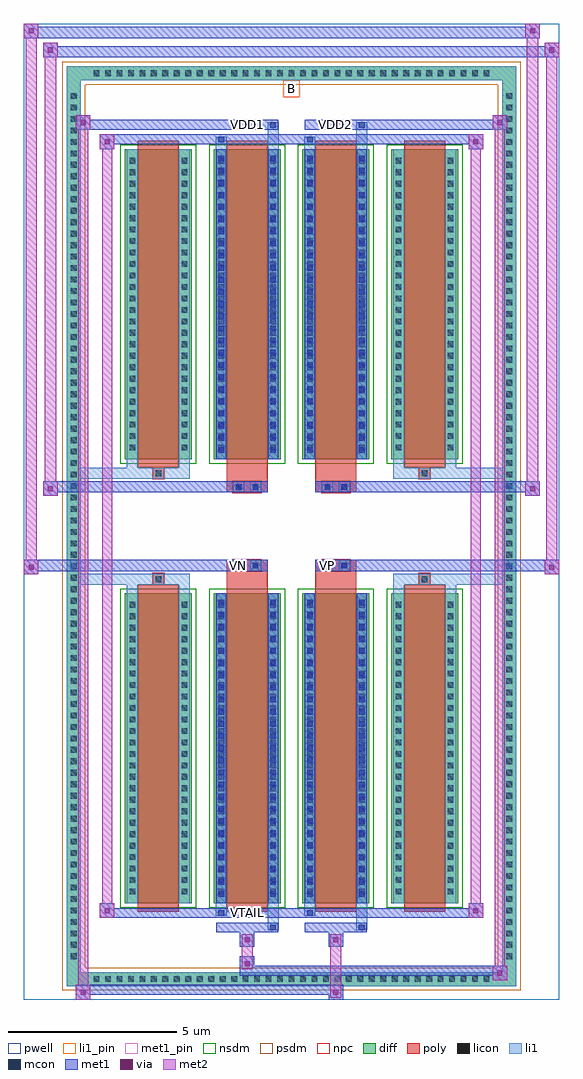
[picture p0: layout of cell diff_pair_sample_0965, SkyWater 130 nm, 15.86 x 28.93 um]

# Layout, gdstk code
import gdstk
lib = gdstk.Library(unit=1e-6, precision=5e-09)
def R(c, l, rs):  # rectangles x0, y0, x1, y1
    for r in rs: c.add(gdstk.rectangle(r[:2], r[2:], *l))
def A(c, l, x, y, w, h, nx, ny, dx, dy):  # array of equal rectangles
    R(c, l, [(x+i*dx, y+j*dy, x+i*dx+w, y+j*dy+h) for i in range(nx) for j in range(ny)])
def P(c, l, *ps):  # polygons
    for p in ps: c.add(gdstk.Polygon(p, *l))
pwell = (64, 44)
diff = (65, 20)
poly = (66, 20)
licon = (66, 44)
li1_pin = (67, 16)
li1 = (67, 20)
mcon = (67, 44)
met1_pin = (68, 16)
met1 = (68, 20)
via = (68, 44)
met2 = (69, 20)
nsdm = (93, 44)
psdm = (94, 20)
npc = (95, 20)

diff_pair_sample_0965 = lib.new_cell('diff_pair_sample_0965')
R(diff_pair_sample_0965, pwell, [(-7.93,-14.03,7.93,14.9), (-5.25,-12.22,-0.01,-0.8), (0.01,-12.22,5.25,-0.8), (-5.25,0.8,-0.01,12.22), (0.01,0.8,5.25,12.22)])
A(diff_pair_sample_0965, diff, -5.985, -13.63, 0.41, 0.41, 35, 2, 0.34, 26.85)
A(diff_pair_sample_0965, diff, -6.66, -12.955, 0.41, 0.41, 1, 76, 0, 0.34)
A(diff_pair_sample_0965, diff, 6.25, -12.955, 0.41, 0.41, 1, 76, 0, 0.34)
A(diff_pair_sample_0965, diff, -4.94, -11.175, 1.99, 9.19, 4, 2, 2.63, 13.16)
R(diff_pair_sample_0965, diff, [(-5.985,-13.63,5.985,-13.22), (-6.66,-12.955,-6.25,12.955), (6.25,-12.955,6.66,12.955), (-5.985,13.22,5.985,13.63)])
P(diff_pair_sample_0965, diff, [(6.66,13.63),(-6.66,13.63),(-6.66,-13.22),(-6.25,-13.22),(-6.25,13.22),(6.25,13.22),(6.25,-13.22),(-6.25,-13.22),(-6.66,-13.22),(-6.66,-13.63),(6.66,-13.63)])
A(diff_pair_sample_0965, poly, -4.55, -11.425, 1.21, 9.69, 4, 2, 2.63, 13.16)
R(diff_pair_sample_0965, poly, [(-4.11,-1.735,-3.78,-1.405), (-4.11,-1.735,-3.78,-1.405), (-1.92,-1.735,-0.71,-1.33), (0.71,-1.735,1.92,-1.33), (3.78,-1.735,4.11,-1.405), (3.78,-1.735,4.11,-1.405), (-1.92,-1.33,-0.71,-1), (-1.73,-1.33,-1.4,-1), (-1.23,-1.33,-0.9,-1), (0.71,-1.33,1.92,-1), (0.9,-1.33,1.23,-1), (1.4,-1.33,1.73,-1), (-1.92,1,-0.71,1.33), (-1.73,1,-1.4,1.33), (-1.23,1,-0.9,1.33), (0.71,1,1.92,1.33), (0.9,1,1.23,1.33), (1.4,1,1.73,1.33), (-1.92,1.33,-0.71,1.735), (0.71,1.33,1.92,1.735), (-4.11,1.405,-3.78,1.735), (-4.11,1.405,-3.78,1.735), (3.78,1.405,4.11,1.735), (3.78,1.405,4.11,1.735)])
A(diff_pair_sample_0965, licon, -5.865, -13.51, 0.17, 0.17, 35, 2, 0.34, 26.85)
A(diff_pair_sample_0965, licon, -6.54, -12.835, 0.17, 0.17, 1, 76, 0, 0.34)
A(diff_pair_sample_0965, licon, 6.37, -12.835, 0.17, 0.17, 1, 76, 0, 0.34)
A(diff_pair_sample_0965, licon, -4.8, -10.915, 0.17, 0.17, 1, 26, 0, 0.34)
A(diff_pair_sample_0965, licon, -3.26, -10.915, 0.17, 0.17, 1, 26, 0, 0.34)
A(diff_pair_sample_0965, licon, -2.17, -10.915, 0.17, 0.17, 1, 26, 0, 0.34)
A(diff_pair_sample_0965, licon, -0.63, -10.915, 0.17, 0.17, 1, 26, 0, 0.34)
A(diff_pair_sample_0965, licon, 0.46, -10.915, 0.17, 0.17, 1, 26, 0, 0.34)
A(diff_pair_sample_0965, licon, 2, -10.915, 0.17, 0.17, 1, 26, 0, 0.34)
A(diff_pair_sample_0965, licon, 3.09, -10.915, 0.17, 0.17, 1, 26, 0, 0.34)
A(diff_pair_sample_0965, licon, 4.63, -10.915, 0.17, 0.17, 1, 26, 0, 0.34)
A(diff_pair_sample_0965, licon, -4.8, 2.245, 0.17, 0.17, 1, 26, 0, 0.34)
A(diff_pair_sample_0965, licon, -3.26, 2.245, 0.17, 0.17, 1, 26, 0, 0.34)
A(diff_pair_sample_0965, licon, -2.17, 2.245, 0.17, 0.17, 1, 26, 0, 0.34)
A(diff_pair_sample_0965, licon, -0.63, 2.245, 0.17, 0.17, 1, 26, 0, 0.34)
A(diff_pair_sample_0965, licon, 0.46, 2.245, 0.17, 0.17, 1, 26, 0, 0.34)
A(diff_pair_sample_0965, licon, 2, 2.245, 0.17, 0.17, 1, 26, 0, 0.34)
A(diff_pair_sample_0965, licon, 3.09, 2.245, 0.17, 0.17, 1, 26, 0, 0.34)
A(diff_pair_sample_0965, licon, 4.63, 2.245, 0.17, 0.17, 1, 26, 0, 0.34)
R(diff_pair_sample_0965, licon, [(-4.03,-1.655,-3.86,-1.485), (3.86,-1.655,4.03,-1.485), (-1.65,-1.25,-1.48,-1.08), (-1.15,-1.25,-0.98,-1.08), (0.98,-1.25,1.15,-1.08), (1.48,-1.25,1.65,-1.08), (-1.65,1.08,-1.48,1.25), (-1.15,1.08,-0.98,1.25), (0.98,1.08,1.15,1.25), (1.48,1.08,1.65,1.25), (-4.03,1.485,-3.86,1.655), (3.86,1.485,4.03,1.655)])
R(diff_pair_sample_0965, li1_pin, [(-0.25,12.72,0.25,13.22)])
A(diff_pair_sample_0965, li1, -5.945, -13.59, 0.33, 0.33, 35, 2, 0.34, 26.85)
A(diff_pair_sample_0965, li1, -6.62, -12.915, 0.33, 0.33, 1, 76, 0, 0.34)
A(diff_pair_sample_0965, li1, 6.29, -12.915, 0.33, 0.33, 1, 76, 0, 0.34)
A(diff_pair_sample_0965, li1, -4.88, -10.995, 0.33, 0.33, 1, 26, 0, 0.34)
A(diff_pair_sample_0965, li1, -3.34, -10.995, 0.33, 0.33, 1, 26, 0, 0.34)
A(diff_pair_sample_0965, li1, -2.25, -10.995, 0.33, 0.33, 1, 26, 0, 0.34)
A(diff_pair_sample_0965, li1, -0.71, -10.995, 0.33, 0.33, 1, 26, 0, 0.34)
A(diff_pair_sample_0965, li1, 0.38, -10.995, 0.33, 0.33, 1, 26, 0, 0.34)
A(diff_pair_sample_0965, li1, 1.92, -10.995, 0.33, 0.33, 1, 26, 0, 0.34)
A(diff_pair_sample_0965, li1, 3.01, -10.995, 0.33, 0.33, 1, 26, 0, 0.34)
A(diff_pair_sample_0965, li1, 4.55, -10.995, 0.33, 0.33, 1, 26, 0, 0.34)
A(diff_pair_sample_0965, li1, -2.17, -10.985, 0.17, 0.17, 1, 25, 0, 0.36)
A(diff_pair_sample_0965, li1, -0.63, -10.985, 0.17, 0.17, 1, 25, 0, 0.36)
A(diff_pair_sample_0965, li1, 0.46, -10.985, 0.17, 0.17, 1, 25, 0, 0.36)
A(diff_pair_sample_0965, li1, 2, -10.985, 0.17, 0.17, 1, 25, 0, 0.36)
A(diff_pair_sample_0965, li1, -4.88, 2.165, 0.33, 0.33, 1, 26, 0, 0.34)
A(diff_pair_sample_0965, li1, -3.34, 2.165, 0.33, 0.33, 1, 26, 0, 0.34)
A(diff_pair_sample_0965, li1, -2.25, 2.165, 0.33, 0.33, 1, 26, 0, 0.34)
A(diff_pair_sample_0965, li1, -0.71, 2.165, 0.33, 0.33, 1, 26, 0, 0.34)
A(diff_pair_sample_0965, li1, 0.38, 2.165, 0.33, 0.33, 1, 26, 0, 0.34)
A(diff_pair_sample_0965, li1, 1.92, 2.165, 0.33, 0.33, 1, 26, 0, 0.34)
A(diff_pair_sample_0965, li1, 3.01, 2.165, 0.33, 0.33, 1, 26, 0, 0.34)
A(diff_pair_sample_0965, li1, 4.55, 2.165, 0.33, 0.33, 1, 26, 0, 0.34)
A(diff_pair_sample_0965, li1, -2.17, 2.175, 0.17, 0.17, 1, 25, 0, 0.36)
A(diff_pair_sample_0965, li1, -0.63, 2.175, 0.17, 0.17, 1, 25, 0, 0.36)
A(diff_pair_sample_0965, li1, 0.46, 2.175, 0.17, 0.17, 1, 25, 0, 0.36)
A(diff_pair_sample_0965, li1, 2, 2.175, 0.17, 0.17, 1, 25, 0, 0.36)
R(diff_pair_sample_0965, li1, [(-6.66,-13.63,-6.25,-13.22), (-6.66,-13.63,-6.25,-13.22), (-6.25,-13.63,6.25,-13.22), (6.25,-13.63,6.66,-13.22), (6.25,-13.63,6.66,-13.22), (-6.66,-13.22,-6.25,13.22), (6.25,-13.22,6.66,13.22), (-0.71,-11.98,-0.38,-11.175), (-0.63,-11.98,-0.46,-11.81), (1.92,-11.98,2.25,-11.175), (2,-11.98,2.17,-11.81), (-2.25,-11.55,-1.92,-11.175), (-2.17,-11.55,-2,-11.38), (0.38,-11.55,0.71,-11.175), (0.46,-11.55,0.63,-11.38), (-4.88,-11.175,-4.55,-1.985), (-3.34,-11.175,-3.01,-1.985), (-2.25,-11.175,-1.92,-1.985), (-0.71,-11.175,-0.38,-1.985), (0.38,-11.175,0.71,-1.985), (1.92,-11.175,2.25,-1.985), (3.01,-11.175,3.34,-1.985), (4.55,-11.175,4.88,-1.985), (-2.17,-10.985,-2,-2.175), (-0.63,-10.985,-0.46,-2.175), (0.46,-10.985,0.63,-2.175), (2,-10.985,2.17,-2.175), (-4.88,-1.985,-4.55,-1.405), (-3.34,-1.985,-3.01,-1.405), (3.01,-1.985,3.34,-1.405), (4.55,-1.985,4.88,-1.405), (-6.66,-1.735,-4.11,-1.405), (-4.88,-1.735,-4.11,-1.405), (-4.11,-1.735,-3.78,-1.405), (-3.78,-1.735,-3.01,-1.405), (3.01,-1.735,3.78,-1.405), (3.78,-1.735,4.11,-1.405), (3.78,-1.735,6.66,-1.405), (4.11,-1.735,4.88,-1.405), (-1.73,-1.33,-1.4,-1), (-1.23,-1.33,-0.9,-1), (0.9,-1.33,1.23,-1), (1.4,-1.33,1.73,-1), (-1.73,1,-1.4,1.33), (-1.23,1,-0.9,1.33), (0.9,1,1.23,1.33), (1.4,1,1.73,1.33), (-6.66,1.405,-4.11,1.735), (-4.88,1.405,-4.11,1.735), (-4.88,1.405,-4.55,1.985), (-4.11,1.405,-3.78,1.735), (-3.78,1.405,-3.01,1.735), (-3.34,1.405,-3.01,1.985), (3.01,1.405,3.78,1.735), (3.01,1.405,3.34,1.985), (3.78,1.405,4.11,1.735), (3.78,1.405,6.66,1.735), (4.11,1.405,4.88,1.735), (4.55,1.405,4.88,1.985), (-4.88,1.985,-4.55,11.175), (-3.34,1.985,-3.01,11.175), (-2.25,1.985,-1.92,11.175), (-0.71,1.985,-0.38,11.175), (0.38,1.985,0.71,11.175), (1.92,1.985,2.25,11.175), (3.01,1.985,3.34,11.175), (4.55,1.985,4.88,11.175), (-2.17,2.175,-2,10.985), (-0.63,2.175,-0.46,10.985), (0.46,2.175,0.63,10.985), (2,2.175,2.17,10.985), (-2.25,11.175,-1.92,11.55), (-0.71,11.175,-0.38,11.98), (0.38,11.175,0.71,11.55), (1.92,11.175,2.25,11.98), (-2.17,11.38,-2,11.55), (0.46,11.38,0.63,11.55), (-0.63,11.81,-0.46,11.98), (2,11.81,2.17,11.98), (-6.66,13.22,-6.25,13.63), (-6.66,13.22,-6.25,13.63), (-6.25,13.22,6.25,13.63), (6.25,13.22,6.66,13.63), (6.25,13.22,6.66,13.63)])
A(diff_pair_sample_0965, mcon, -2.17, -10.985, 0.17, 0.17, 1, 25, 0, 0.36)
A(diff_pair_sample_0965, mcon, -0.63, -10.985, 0.17, 0.17, 1, 25, 0, 0.36)
A(diff_pair_sample_0965, mcon, 0.46, -10.985, 0.17, 0.17, 1, 25, 0, 0.36)
A(diff_pair_sample_0965, mcon, 2, -10.985, 0.17, 0.17, 1, 25, 0, 0.36)
A(diff_pair_sample_0965, mcon, -2.17, 2.175, 0.17, 0.17, 1, 25, 0, 0.36)
A(diff_pair_sample_0965, mcon, -0.63, 2.175, 0.17, 0.17, 1, 25, 0, 0.36)
A(diff_pair_sample_0965, mcon, 0.46, 2.175, 0.17, 0.17, 1, 25, 0, 0.36)
A(diff_pair_sample_0965, mcon, 2, 2.175, 0.17, 0.17, 1, 25, 0, 0.36)
R(diff_pair_sample_0965, mcon, [(-0.63,-11.98,-0.46,-11.81), (2,-11.98,2.17,-11.81), (-2.17,-11.55,-2,-11.38), (0.46,-11.55,0.63,-11.38), (-1.65,-1.25,-1.48,-1.08), (-1.15,-1.25,-0.98,-1.08), (0.98,-1.25,1.15,-1.08), (1.48,-1.25,1.65,-1.08), (-1.65,1.08,-1.48,1.25), (-1.15,1.08,-0.98,1.25), (0.98,1.08,1.15,1.25), (1.48,1.08,1.65,1.25), (-2.17,11.38,-2,11.55), (0.46,11.38,0.63,11.55), (-0.63,11.81,-0.46,11.98), (2,11.81,2.17,11.98)])
R(diff_pair_sample_0965, met1_pin, [(-1.45,-11.59,-1.18,-11.32), (-1.7,-1.29,-1.43,-1.02), (0.93,-1.29,1.2,-1.02), (-1.45,11.77,-1.18,12.04), (1.18,11.77,1.45,12.04)])
A(diff_pair_sample_0965, met1, -2.23, -11.045, 0.29, 0.29, 1, 25, 0, 0.36)
A(diff_pair_sample_0965, met1, -0.69, -11.045, 0.29, 0.29, 1, 25, 0, 0.36)
A(diff_pair_sample_0965, met1, 0.4, -11.045, 0.29, 0.29, 1, 25, 0, 0.36)
A(diff_pair_sample_0965, met1, 1.94, -11.045, 0.29, 0.29, 1, 25, 0, 0.36)
A(diff_pair_sample_0965, met1, -2.23, 2.115, 0.29, 0.29, 1, 25, 0, 0.36)
A(diff_pair_sample_0965, met1, -0.69, 2.115, 0.29, 0.29, 1, 25, 0, 0.36)
A(diff_pair_sample_0965, met1, 0.4, 2.115, 0.29, 0.29, 1, 25, 0, 0.36)
A(diff_pair_sample_0965, met1, 1.94, 2.115, 0.29, 0.29, 1, 25, 0, 0.36)
R(diff_pair_sample_0965, met1, [(-6.39,-14.03,-5.96,-13.6), (1.1,-14.03,1.53,-13.6), (-6.39,-13.89,1.53,-13.6), (5.96,-13.46,6.39,-13.03), (-1.53,-13.32,6.39,-13.03), (-1.53,-13.18,-1.1,-12.75), (-1.53,-12.47,-1.1,-12.04), (1.1,-12.47,1.53,-12.04), (-2.23,-12.04,-0.4,-11.75), (-0.69,-12.04,-0.4,-11.75), (0.4,-12.04,2.23,-11.75), (1.94,-12.04,2.23,-11.75), (-5.68,-11.61,-5.25,-11.18), (-5.68,-11.61,-2.23,-11.32), (-2.23,-11.61,-1.94,-11.32), (-2.23,-11.61,-0.4,-11.32), (-0.4,-11.61,0.4,-11.32), (0.4,-11.61,0.69,-11.32), (0.4,-11.61,2.23,-11.32), (2.23,-11.61,5.68,-11.32), (5.25,-11.61,5.68,-11.18), (-2.23,-11.175,-1.94,-1.985), (-0.69,-11.175,-0.4,-1.985), (0.4,-11.175,0.69,-1.985), (1.94,-11.175,2.23,-1.985), (-7.93,-1.43,-7.5,-1), (7.5,-1.43,7.93,-1), (-7.93,-1.33,-0.71,-1), (-1.92,-1.33,-0.71,-1), (0.71,-1.33,1.92,-1), (0.71,-1.33,7.93,-1), (-1.71,-1.31,-1.42,-1.02), (-1.21,-1.31,-0.92,-1.02), (0.92,-1.31,1.21,-1.02), (1.42,-1.31,1.71,-1.02), (-7.36,0.9,-6.93,1.33), (6.93,0.9,7.36,1.33), (-7.36,1,-1.92,1.33), (-1.92,1,-0.71,1.33), (0.71,1,1.92,1.33), (1.92,1,7.36,1.33), (-1.71,1.02,-1.42,1.31), (-1.21,1.02,-0.92,1.31), (0.92,1.02,1.21,1.31), (1.42,1.02,1.71,1.31), (-2.23,1.985,-1.94,11.175), (-0.69,1.985,-0.4,11.175), (0.4,1.985,0.69,11.175), (1.94,1.985,2.23,11.175), (-5.68,11.18,-5.25,11.61), (5.25,11.18,5.68,11.61), (-5.68,11.32,-2.23,11.61), (-2.23,11.32,-1.94,11.61), (-2.23,11.32,-0.4,11.61), (-0.4,11.32,0.4,11.61), (0.4,11.32,0.69,11.61), (0.4,11.32,2.23,11.61), (2.23,11.32,5.68,11.61), (-6.39,11.75,-5.96,12.18), (-6.39,11.75,-2.23,12.04), (-2.23,11.75,-0.4,12.04), (-0.69,11.75,-0.4,12.04), (0.4,11.75,2.23,12.04), (1.94,11.75,2.23,12.04), (2.23,11.75,6.39,12.04), (5.96,11.75,6.39,12.18), (-7.36,13.9,-6.93,14.33), (-7.36,13.9,-5.25,14.23), (-5.25,13.9,5.25,14.23), (5.25,13.9,7.93,14.23), (7.5,13.9,7.93,14.33), (-7.93,14.47,-7.5,14.9), (-7.93,14.47,-5.25,14.8), (-5.25,14.47,5.25,14.8), (5.25,14.47,7.36,14.8), (6.93,14.47,7.36,14.9)])
R(diff_pair_sample_0965, via, [(-6.25,-13.89,-6.1,-13.74), (1.24,-13.89,1.39,-13.74), (6.1,-13.32,6.25,-13.17), (-1.39,-13.04,-1.24,-12.89), (-1.39,-12.33,-1.24,-12.18), (1.24,-12.33,1.39,-12.18), (-5.54,-11.47,-5.39,-11.32), (5.39,-11.47,5.54,-11.32), (-7.79,-1.29,-7.64,-1.14), (7.64,-1.29,7.79,-1.14), (-7.22,1.04,-7.07,1.19), (7.07,1.04,7.22,1.19), (-5.54,11.32,-5.39,11.47), (5.39,11.32,5.54,11.47), (-6.25,11.89,-6.1,12.04), (6.1,11.89,6.25,12.04), (-7.22,14.04,-7.07,14.19), (7.64,14.04,7.79,14.19), (-7.79,14.61,-7.64,14.76), (7.07,14.61,7.22,14.76)])
R(diff_pair_sample_0965, met2, [(-6.39,-14.03,-5.96,-13.6), (-6.32,-14.03,-6.03,12.18), (-6.03,-14.03,-5.96,-13.6), (-6.34,-13.98,-6.01,-13.65), (1.15,-13.98,1.48,-13.65), (1.15,-13.65,1.48,-12.42), (5.96,-13.46,6.39,-13.03), (6.03,-13.46,6.32,12.18), (6.32,-13.46,6.39,-13.03), (6.01,-13.41,6.34,-13.08), (-1.48,-13.13,-1.15,-12.8), (-1.48,-12.8,-1.15,-12.42), (-1.48,-12.42,-1.15,-12.09), (1.15,-12.42,1.48,-12.09), (-5.68,-11.61,-5.25,-11.18), (-5.61,-11.61,-5.32,11.61), (-5.32,-11.61,-5.25,-11.18), (5.25,-11.61,5.68,-11.18), (5.32,-11.61,5.61,11.61), (5.61,-11.61,5.68,-11.18), (-5.63,-11.56,-5.3,-11.23), (5.3,-11.56,5.63,-11.23), (-7.93,-1.43,-7.5,-1), (-7.88,-1.43,-7.55,14.9), (-7.55,-1.43,-7.5,-1), (7.5,-1.43,7.93,-1), (7.55,-1.43,7.88,14.33), (7.88,-1.43,7.93,-1), (-7.88,-1.38,-7.55,-1.05), (7.55,-1.38,7.88,-1.05), (-7.36,0.9,-6.93,1.33), (-7.31,0.9,-6.98,14.33), (-6.98,0.9,-6.93,1.33), (6.93,0.9,7.36,1.33), (6.98,0.9,7.31,14.9), (7.31,0.9,7.36,1.33), (-7.31,0.95,-6.98,1.28), (6.98,0.95,7.31,1.28), (-5.68,11.18,-5.25,11.61), (-5.32,11.18,-5.25,11.61), (5.25,11.18,5.68,11.61), (5.61,11.18,5.68,11.61), (-5.63,11.23,-5.3,11.56), (5.3,11.23,5.63,11.56), (-6.39,11.75,-5.96,12.18), (-6.03,11.75,-5.96,12.18), (5.96,11.75,6.39,12.18), (6.32,11.75,6.39,12.18), (-6.34,11.8,-6.01,12.13), (6.01,11.8,6.34,12.13), (-7.36,13.9,-6.93,14.33), (-6.98,13.9,-6.93,14.33), (7.5,13.9,7.93,14.33), (7.88,13.9,7.93,14.33), (-7.31,13.95,-6.98,14.28), (7.55,13.95,7.88,14.28), (-7.93,14.47,-7.5,14.9), (-7.55,14.47,-7.5,14.9), (6.93,14.47,7.36,14.9), (7.31,14.47,7.36,14.9), (-7.88,14.52,-7.55,14.85), (6.98,14.52,7.31,14.85)])
A(diff_pair_sample_0965, nsdm, -5.07, -11.305, 2.25, 9.45, 4, 2, 2.63, 13.16)
P(diff_pair_sample_0965, psdm, [(6.79,13.76),(-6.79,13.76),(-6.79,-13.09),(-6.12,-13.09),(-6.12,13.09),(6.12,13.09),(6.12,-13.09),(-6.12,-13.09),(-6.79,-13.09),(-6.79,-13.76),(6.79,-13.76)])
R(diff_pair_sample_0965, npc, [(-4.13,-1.755,-3.76,-1.385), (3.76,-1.755,4.13,-1.385), (-1.75,-1.35,-1.38,-0.98), (-1.75,-1.35,-0.88,-0.98), (-1.75,-1.35,-0.88,-0.98), (-1.25,-1.35,-0.88,-0.98), (0.88,-1.35,1.25,-0.98), (0.88,-1.35,1.75,-0.98), (0.88,-1.35,1.75,-0.98), (1.38,-1.35,1.75,-0.98), (-1.75,0.98,-1.38,1.35), (-1.75,0.98,-0.88,1.35), (-1.75,0.98,-0.88,1.35), (-1.25,0.98,-0.88,1.35), (0.88,0.98,1.25,1.35), (0.88,0.98,1.75,1.35), (0.88,0.98,1.75,1.35), (1.38,0.98,1.75,1.35), (-4.13,1.385,-3.76,1.755), (3.76,1.385,4.13,1.755)])
diff_pair_sample_0965.add(gdstk.Label('VTAIL', (-1.315,-11.455), layer=68, texttype=5))
diff_pair_sample_0965.add(gdstk.Label('VN', (-1.565,-1.155), layer=68, texttype=5))
diff_pair_sample_0965.add(gdstk.Label('VP', (1.065,-1.155), layer=68, texttype=5))
diff_pair_sample_0965.add(gdstk.Label('B', (0,12.97), layer=67, texttype=5))
diff_pair_sample_0965.add(gdstk.Label('VDD2', (1.315,11.905), layer=68, texttype=5))
diff_pair_sample_0965.add(gdstk.Label('VDD1', (-1.315,11.905), layer=68, texttype=5))

lib.write_gds('diff_pair_sample_0965.gds')
